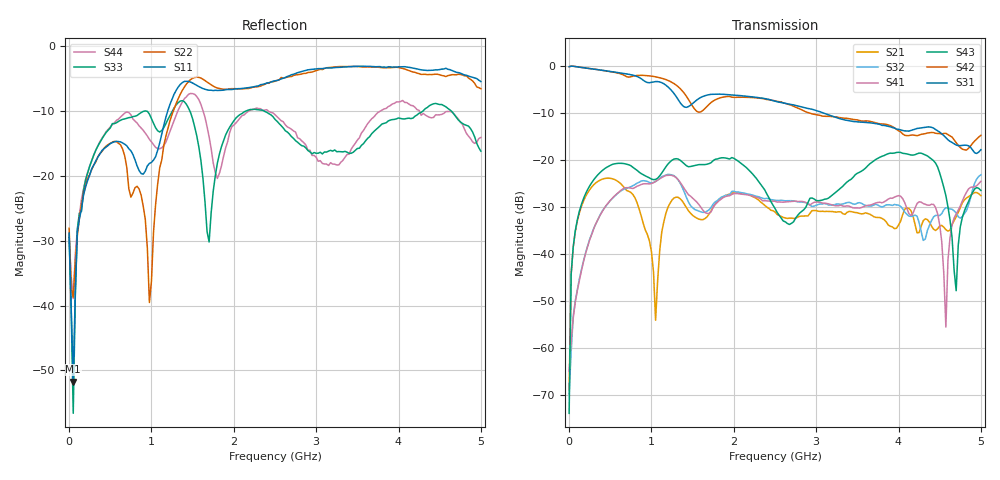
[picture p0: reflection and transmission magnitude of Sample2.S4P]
!Agilent Technologies,E5071C,MY46106673,A.09.22
!Date: Wed Jun 23 10:33:02 2010
!Data & Calibration Information:
!Freq	S11:SOLT4(ON)	S12:SOLT4(ON)	S13:SOLT4(ON)	S14:SOLT4(ON)
!	S21:SOLT4(ON)	S22:SOLT4(ON)	S23:SOLT4(ON)	S24:SOLT4(ON)
!	S31:SOLT4(ON)	S32:SOLT4(ON)	S33:SOLT4(ON)	S34:SOLT4(ON)
!	S41:SOLT4(ON)	S42:SOLT4(ON)	S43:SOLT4(ON)	S44:SOLT4(ON)
# Hz S dB R 50
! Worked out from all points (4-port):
!   201 points, 100 kHz to 5 GHz, reference 50 ohm
!   strongest paths, dB at 100 kHz, 1.25 GHz, 2.5 GHz, 3.75 GHz, 5 GHz:
!     S31: -0.2, -5.4, -7.6, -12.4, -17.9
!     S42: -0.2, -3.6, -7.5, -12.3, -14.8
!     S43: -73.8, -20.1, -30.3, -19.7, -26.5
!     S41: -64.8, -23.3, -28.8, -29.0, -24.6
!     S32: -69.7, -23.2, -28.6, -29.6, -23.2
!     S21: -68.9, -28.5, -31.1, -32.2, -27.6
!   lowest |S11| = -51.7 dB at 50.1 MHz (marker M1), VSWR 1.01, Z = 50.3 - j0.00739 ohm
!   |S11| at or under -10 dB: start of sweep to 1.197 GHz
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100000  -28.81 -124.1  -67.69 -24.0  -0.23 1.7  -69.50 -78.5
        -68.94 -8.8  -28.07 -126.1  -70.68 -55.8  -0.26 1.7
        -0.24 1.6  -69.66 -14.2  -29.51 -128.7  -68.69 176.3
        -64.84 162.7  -0.25 1.6  -73.79 1.0  -29.36 -124.3
5.0099e7  -51.71 -1.6  -38.52 71.4  -0.15 -13.3  -53.66 -110.1
          -38.57 72.1  -38.71 -81.8  -53.51 -102.5  -0.15 -13.2
          -0.15 -13.2  -53.20 -99.6  -56.61 -56.8  -38.43 77.2
          -53.55 -113.4  -0.14 -13.2  -38.43 77.3  -38.91 -91.8
5.250895e8  -14.85 -169.9  -24.03 -64.1  -1.34 -129.7  -28.17 145.9
            -24.02 -64.0  -14.79 -172.0  -28.02 147.2  -1.36 -129.3
            -1.32 -129.6  -28.20 146.6  -11.92 88.2  -20.97 -10.0
            -28.14 145.9  -1.36 -129.3  -20.97 -10.0  -12.09 88.9
1.050079e9  -17.03 -78.5  -53.88 100.1  -3.40 107.6  -24.60 0.1
            -54.05 101.5  -24.43 -55.6  -24.61 -2.3  -2.40 107.1
            -3.40 107.6  -24.61 -2.3  -12.56 -45.9  -24.17 -62.5
            -24.59 -0.0  -2.39 107.1  -24.16 -62.5  -15.59 -33.9
4.425012e9  -3.68 -5.3  -34.75 -160.5  -13.21 123.0  -29.46 3.8
            -34.73 -160.3  -4.32 -5.5  -32.10 53.4  -14.29 130.7
            -13.28 123.1  -32.12 53.5  -8.87 45.7  -20.22 -22.7
            -29.47 3.9  -14.23 130.8  -20.18 -22.6  -10.97 38.6
4.575008e9  -3.39 -20.3  -34.92 -178.2  -15.38 86.8  -56.29 54.1
            -34.82 -178.6  -4.67 -18.1  -30.19 20.6  -14.53 95.7
            -15.29 86.7  -30.16 20.6  -9.33 -1.9  -27.73 -70.0
            -55.50 61.6  -14.38 95.4  -27.61 -70.6  -10.07 -4.9
5e9  -5.44 -67.2  -27.56 65.5  -17.92 25.2  -24.58 -54.9
     -27.60 65.3  -6.54 -61.1  -23.26 -57.0  -14.83 23.9
     -17.86 25.2  -23.19 -56.7  -16.18 -127.7  -26.50 15.3
     -24.56 -54.7  -14.80 24.3  -26.50 15.3  -14.06 -121.2
